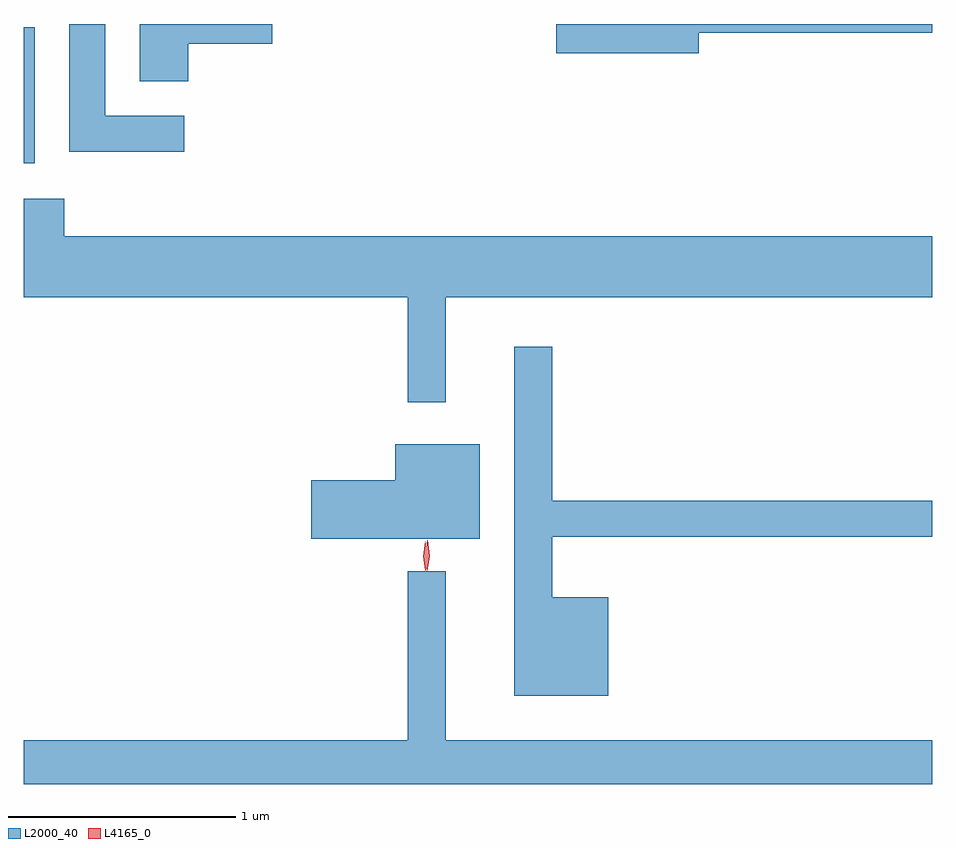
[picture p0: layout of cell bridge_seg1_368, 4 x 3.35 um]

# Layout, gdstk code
import gdstk
lib = gdstk.Library(unit=1e-6, precision=1e-09)
def R(c, l, rs):  # rectangles x0, y0, x1, y1
    for r in rs: c.add(gdstk.rectangle(r[:2], r[2:], *l))
def P(c, l, *ps):  # polygons
    for p in ps: c.add(gdstk.Polygon(p, *l))
L2000_40 = (2000, 40)
L4165_0 = (4165, 0)

bridge_seg1_368 = lib.new_cell('bridge_seg1_368')
R(bridge_seg1_368, L2000_40, [(836.741,842.446,836.789,843.044)])
P(bridge_seg1_368, L2000_40, [(837.448,842.654),(837.099,842.654),(837.099,843.059),(836.941,843.059),(836.941,842.496),(837.448,842.496)],
  [(839.714,843.021),(840.741,843.021),(840.741,843.059),(839.086,843.059),(839.086,842.931),(839.714,842.931)],
  [(837.464,842.971),(837.834,842.971),(837.834,843.059),(837.251,843.059),(837.251,842.806),(837.464,842.806)],
  [(838.599,841.856),(840.741,841.856),(840.741,842.124),(836.919,842.124),(836.919,842.289),(836.741,842.289),(836.741,841.856),(838.431,841.856),(838.431,841.393),(838.599,841.393)],
  [(839.314,840.534),(839.069,840.534),(839.069,840.801),(840.741,840.801),(840.741,840.959),(839.069,840.959),(839.069,841.638),(838.901,841.638),(838.901,840.101),(839.314,840.101)],
  [(838.749,841.209),(838.376,841.209),(838.376,841.049),(838.006,841.049),(838.006,840.791),(838.749,840.791)],
  [(840.741,839.904),(838.599,839.904),(838.599,840.648),(838.431,840.648),(838.431,839.904),(836.741,839.904),(836.741,839.712),(840.741,839.712)])
P(bridge_seg1_368, L4165_0, [(838.517,840.65),(838.517,840.65),(838.508,840.718),(838.518,840.786),(838.519,840.786),(838.519,840.786),(838.528,840.718),(838.518,840.65)],
  [(838.509,840.653),(838.509,840.653),(838.499,840.716),(838.508,840.779),(838.509,840.78),(838.509,840.779),(838.519,840.716),(838.51,840.653)])

lib.write_gds('bridge_seg1_368.gds')
